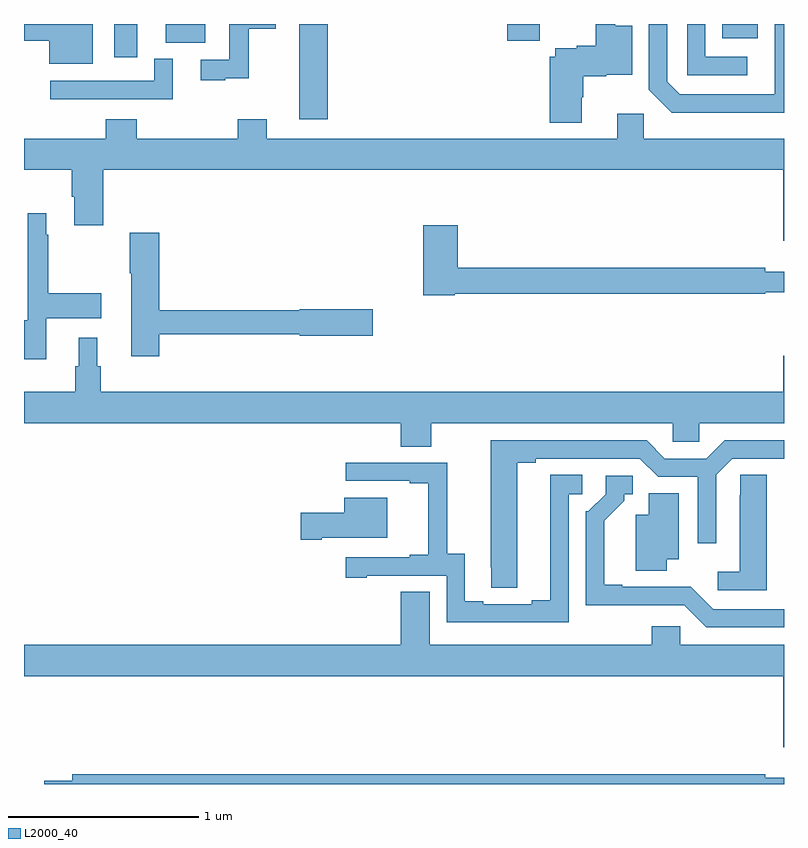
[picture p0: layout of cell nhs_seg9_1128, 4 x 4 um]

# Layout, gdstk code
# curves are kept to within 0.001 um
import gdstk
lib = gdstk.Library(unit=1e-6, precision=1e-09)
def R(c, l, rs):  # rectangles x0, y0, x1, y1
    for r in rs: c.add(gdstk.rectangle(r[:2], r[2:], *l))
def P(c, l, *ps):  # polygons
    for p in ps: c.add(gdstk.Polygon(p, *l))
L2000_40 = (2000, 40)

nhs_seg9_1128 = lib.new_cell('nhs_seg9_1128')
R(nhs_seg9_1128, L2000_40, [(174.449,1218,174.599,1218.5), (173.474,1218.324,173.596,1218.5), (173.747,1218.401,173.953,1218.5), (175.544,1218.411,175.714,1218.5), (176.675,1218.425,176.863,1218.5)])
P(nhs_seg9_1128, L2000_40, [(176.806,1218.327),(176.586,1218.327),(176.586,1218.5),(176.49,1218.5),(176.49,1218.231),(176.806,1218.231)],
  [(174.059,1218.215),(174.182,1218.215),(174.182,1218.475),(174.325,1218.475),(174.325,1218.5),(174.081,1218.5),(174.081,1218.312),(173.931,1218.312),(173.931,1218.204),(174.059,1218.204)],
  [(175.936,1218.114),(175.944,1218.114),(175.944,1218.226),(176.064,1218.226),(176.064,1218.233),(176.2,1218.233),(176.2,1218.49),(176.111,1218.49),(176.111,1218.5),(176.008,1218.5),(176.008,1218.386),(175.908,1218.386),(175.908,1218.373),(175.796,1218.373),(175.796,1218.327),(175.766,1218.327),(175.766,1217.981),(175.936,1217.981)],
  [(173.362,1218.5),(173,1218.5),(173,1218.412),(173.132,1218.412),(173.132,1218.29),(173.362,1218.29)],
  [(177,1218.5),(176.952,1218.5),(176.952,1218.329),(176.951,1218.329),(176.951,1218.129),(176.451,1218.129),(176.385,1218.195),(176.385,1218.5),(176.289,1218.5),(176.289,1218.153),(176.41,1218.032),(177,1218.032)],
  [(173.782,1218.316),(173.685,1218.316),(173.685,1218.201),(173.139,1218.201),(173.139,1218.105),(173.782,1218.105)],
  [(177,1217.896),(176.262,1217.896),(176.262,1218.028),(176.123,1218.028),(176.123,1217.896),(174.277,1217.896),(174.277,1217.998),(174.125,1217.998),(174.125,1217.896),(173.594,1217.896),(173.594,1217.998),(173.429,1217.998),(173.429,1217.896),(173,1217.896),(173,1217.732),(173.252,1217.732),(173.252,1217.59),(173.264,1217.59),(173.264,1217.442),(173.417,1217.442),(173.417,1217.732),(176.996,1217.732),(176.996,1217.358),(177,1217.358)],
  [(173.116,1216.952),(173.407,1216.952),(173.407,1217.082),(173.128,1217.082),(173.128,1217.39),(173.116,1217.39),(173.116,1217.503),(173.019,1217.503),(173.019,1216.942),(173,1216.942),(173,1216.736),(173.116,1216.736)],
  [(175.266,1217.08),(176.902,1217.08),(176.902,1217.088),(177,1217.088),(177,1217.197),(176.9,1217.197),(176.9,1217.216),(175.283,1217.216),(175.283,1217.44),(175.1,1217.44),(175.1,1217.072),(175.266,1217.072)],
  [(173.711,1216.866),(174.45,1216.866),(174.45,1216.858),(174.835,1216.858),(174.835,1217),(174.45,1217),(174.45,1216.994),(173.711,1216.994),(173.711,1217.401),(173.557,1217.401),(173.557,1217.188),(173.564,1217.188),(173.564,1216.752),(173.711,1216.752)],
  [(175.143,1216.4),(176.415,1216.4),(176.415,1216.302),(176.553,1216.302),(176.553,1216.4),(177,1216.4),(177,1216.753),(176.996,1216.753),(176.996,1216.564),(173.405,1216.564),(173.405,1216.698),(173.386,1216.698),(173.386,1216.849),(173.288,1216.849),(173.288,1216.698),(173.269,1216.698),(173.269,1216.564),(173,1216.564),(173,1216.4),(174.983,1216.4),(174.983,1216.276),(175.143,1216.276)],
  [(175.597,1216.192),(175.693,1216.192),(175.693,1216.212),(176.241,1216.212),(176.337,1216.116),(176.547,1216.116),(176.547,1215.768),(176.643,1215.768),(176.643,1216.128),(176.727,1216.212),(177,1216.212),(177,1216.308),(176.687,1216.308),(176.591,1216.212),(176.373,1216.212),(176.277,1216.308),(175.457,1216.308),(175.458,1215.532),(175.597,1215.532)],
  [(175.866,1216.026),(175.939,1216.026),(175.939,1216.127),(175.769,1216.127),(175.769,1215.467),(175.673,1215.467),(175.673,1215.447),(175.417,1215.447),(175.417,1215.462),(175.321,1215.462),(175.321,1215.713),(175.227,1215.713),(175.227,1216.191),(174.693,1216.191),(174.693,1216.095),(175.031,1216.095),(175.031,1216.083),(175.127,1216.083),(175.127,1215.706),(175.031,1215.706),(175.031,1215.693),(174.693,1215.693),(174.693,1215.585),(174.805,1215.585),(174.805,1215.597),(175.224,1215.597),(175.224,1215.351),(175.866,1215.351)],
  [(176.908,1216.127),(176.769,1216.127),(176.769,1216.019),(176.768,1216.019),(176.768,1215.616),(176.652,1215.616),(176.652,1215.519),(176.908,1215.519)],
  [(177,1215.42),(176.628,1215.42),(176.51,1215.538),(176.149,1215.537),(176.149,1215.55),(176.053,1215.55),(176.053,1215.886),(176.158,1215.991),(176.158,1216.026),(176.203,1216.026),(176.203,1216.122),(176.061,1216.122),(176.061,1216.026),(175.971,1215.936),(175.956,1215.936),(175.956,1215.44),(176.475,1215.441),(176.592,1215.324),(177,1215.324)],
  [(176.383,1215.683),(176.446,1215.683),(176.446,1216.031),(176.288,1216.031),(176.288,1215.916),(176.219,1215.916),(176.219,1215.622),(176.383,1215.622)],
  [(174.568,1215.797),(174.913,1215.797),(174.913,1216.006),(174.686,1216.006),(174.686,1215.927),(174.456,1215.927),(174.456,1215.785),(174.568,1215.785)],
  [(177,1215.232),(176.454,1215.232),(176.454,1215.33),(176.303,1215.33),(176.303,1215.232),(175.135,1215.232),(175.135,1215.512),(174.983,1215.512),(174.983,1215.232),(173,1215.232),(173,1215.068),(176.996,1215.068),(176.996,1214.694),(177,1214.694)],
  [(177,1214.533),(176.9,1214.533),(176.9,1214.552),(173.255,1214.552),(173.255,1214.516),(173.106,1214.516),(173.106,1214.5),(177,1214.5)])

lib.write_gds('nhs_seg9_1128.gds')
